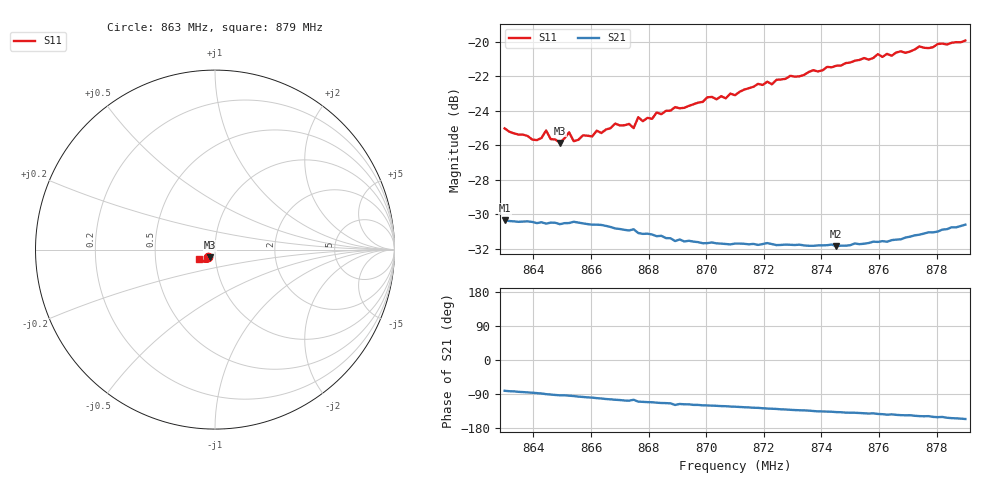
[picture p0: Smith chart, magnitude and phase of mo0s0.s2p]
# HZ S RI R 50
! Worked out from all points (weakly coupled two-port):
!   101 points, 863 MHz to 879 MHz, reference 50 ohm
!   highest |S21| = -30.34 dB at 863 MHz (marker M1); lowest = -31.8 dB at 874.52 MHz (marker M2)
!   lowest |S11| = -25.9 dB at 864.92 MHz (marker M3), VSWR 1.11, Z = 47.3 - j4.16 ohm
!   |S11| at or under -10 dB: start of sweep to end of sweep
!   S12 and S22 are empty: the file has one direction only
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8.63e8  -0.039 -0.0403  0.00465 -0.03  0 0  0 0
8.6412e8  -0.0304 -0.042  0.00136 -0.0298  0 0  0 0
8.6444e8  -0.033 -0.0443  -5.5e-05 -0.0297  0 0  0 0
8.646e8  -0.0284 -0.0438  -0.000567 -0.0299  0 0  0 0
8.6492e8  -0.0258 -0.0439  -0.00164 -0.0296  0 0  0 0
8.6524e8  -0.0287 -0.0465  -0.00218 -0.0297  0 0  0 0
8.654e8  -0.0258 -0.0445  -0.0027 -0.03  0 0  0 0
8.6572e8  -0.0263 -0.0467  -0.0039 -0.0295  0 0  0 0
8.6604e8  -0.0243 -0.0473  -0.00477 -0.0291  0 0  0 0
8.6684e8  -0.0255 -0.052  -0.00741 -0.0278  0 0  0 0
8.6748e8  -0.0198 -0.0526  -0.00736 -0.0277  0 0  0 0
8.6764e8  -0.0266 -0.0543  -0.00949 -0.0262  0 0  0 0
8.678e8  -0.0252 -0.0532  -0.00969 -0.026  0 0  0 0
8.6844e8  -0.0264 -0.0557  -0.0109 -0.0251  0 0  0 0
8.7004e8  -0.0311 -0.0616  -0.013 -0.0226  0 0  0 0
8.71e8  -0.0339 -0.0612  -0.0143 -0.0217  0 0  0 0
8.718e8  -0.0385 -0.0649  -0.0153 -0.0208  0 0  0 0
8.7372e8  -0.0481 -0.0672  -0.018 -0.0182  0 0  0 0
8.7452e8  -0.054 -0.0659  -0.0188 -0.0173  0 0  0 0
8.7596e8  -0.0655 -0.0647  -0.0208 -0.0161  0 0  0 0
8.7644e8  -0.0662 -0.0625  -0.0214 -0.0158  0 0  0 0
8.79e8  -0.0875 -0.0501  -0.0269 -0.0122  0 0  0 0
